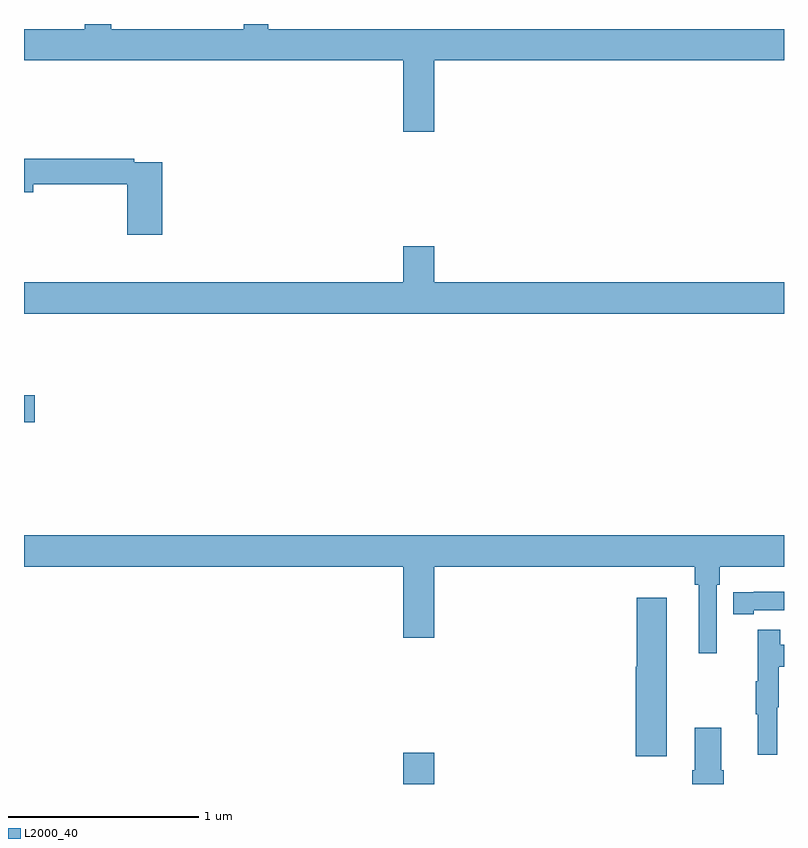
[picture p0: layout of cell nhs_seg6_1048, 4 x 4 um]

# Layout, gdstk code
import gdstk
lib = gdstk.Library(unit=1e-6, precision=1e-09)
def R(c, l, rs):  # rectangles x0, y0, x1, y1
    for r in rs: c.add(gdstk.rectangle(r[:2], r[2:], *l))
def P(c, l, *ps):  # polygons
    for p in ps: c.add(gdstk.Polygon(p, *l))
L2000_40 = (2000, 40)

nhs_seg6_1048 = lib.new_cell('nhs_seg6_1048')
R(nhs_seg6_1048, L2000_40, [(176.996,971.5,177.16,971.665), (175,973.403,175.057,973.545)])
P(nhs_seg6_1048, L2000_40, [(177.16,975.308),(179,975.308),(179,975.472),(176.285,975.472),(176.285,975.5),(176.157,975.5),(176.157,975.472),(175.459,975.472),(175.459,975.5),(175.319,975.5),(175.319,975.472),(175,975.472),(175,975.308),(176.996,975.308),(176.996,974.934),(177.16,974.934)],
  [(175.727,974.772),(175.58,974.772),(175.58,974.792),(175,974.792),(175,974.614),(175.048,974.614),(175.048,974.656),(175.544,974.656),(175.544,974.391),(175.727,974.391)],
  [(179,974.14),(177.16,974.14),(177.16,974.329),(176.996,974.329),(176.996,974.14),(175,974.14),(175,973.976),(179,973.976)],
  [(175,972.644),(176.996,972.644),(176.996,972.27),(177.16,972.27),(177.16,972.644),(178.531,972.644),(178.531,972.548),(178.55,972.548),(178.55,972.189),(178.647,972.189),(178.647,972.548),(178.661,972.548),(178.661,972.644),(179,972.644),(179,972.808),(175,972.808)],
  [(178.84,972.414),(179,972.414),(179,972.511),(178.84,972.511),(178.84,972.51),(178.732,972.51),(178.732,972.394),(178.84,972.394)],
  [(178.384,972.481),(178.226,972.481),(178.226,972.117),(178.22,972.117),(178.22,971.646),(178.384,971.646)],
  [(178.964,971.904),(178.972,971.904),(178.972,972.118),(179,972.118),(179,972.234),(178.979,972.234),(178.979,972.313),(178.862,972.313),(178.862,972.041),(178.851,972.041),(178.851,971.867),(178.862,971.867),(178.862,971.655),(178.964,971.655)],
  [(178.682,971.572),(178.669,971.572),(178.669,971.797),(178.529,971.797),(178.529,971.572),(178.517,971.572),(178.517,971.5),(178.682,971.5)])

lib.write_gds('nhs_seg6_1048.gds')
